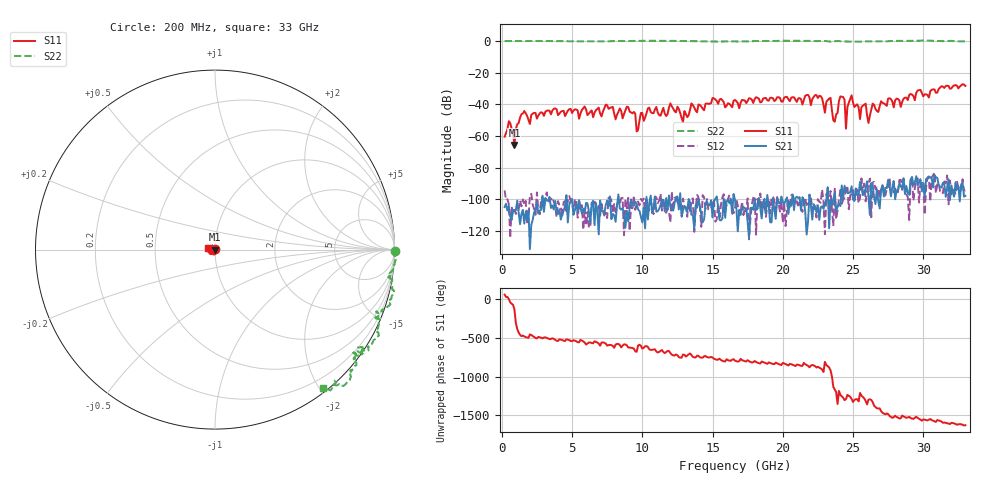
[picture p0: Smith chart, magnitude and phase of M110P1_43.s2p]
# GHZ S RI R 50
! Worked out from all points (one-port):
!   329 points, 200 MHz to 33 GHz, reference 50 ohm
!   lowest |S11| = -65.7 dB at 900 MHz (marker M1), VSWR 1.00, Z = 50 - j0.0399 ohm
!   |S11| at or under -10 dB: start of sweep to end of sweep
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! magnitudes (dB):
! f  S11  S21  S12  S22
! 200 MHz  -60.5  -104.9  -94.4  0.0
! 500 MHz  -50.7  -104.0  -103.0  0.0
! 900 MHz  -65.7  -107.4  -106.7  0.0
! 1.6 GHz  -44.2  -115.3  -103.2  0.0
! 5.7 GHz  -43.6  -108.9  -103.7  -0.2
! 9 GHz  -41.7  -114.1  -99.1  0.0
! 9.6 GHz  -57.1  -102.8  -102.9  0.1
! 9.9 GHz  -45.4  -111.0  -99.7  0.1
! 11.2 GHz  -46.8  -106.1  -100.9  0.2
! 16.6 GHz  -37.2  -100.4  -105.2  -0.3
! 22.1 GHz  -36.7  -112.9  -105.7  0.1
! 23 GHz  -45.3  -102.1  -122.1  0.1
! 23.4 GHz  -35.9  -100.6  -94.7  -0.3
! 23.7 GHz  -51.0  -95.9  -92.7  0.0
! 24.3 GHz  -35.4  -99.8  -100.3  -0.2
! 24.5 GHz  -55.3  -94.9  -93.3  -0.3
! 24.9 GHz  -34.3  -91.8  -96.0  -0.3
! 25.5 GHz  -49.3  -89.0  -99.2  -0.3
! 25.9 GHz  -39.5  -92.9  -101.3  -0.3
! 26.1 GHz  -51.8  -97.9  -90.6  -0.2
! 27.6 GHz  -36.1  -90.6  -86.5  0.0
! 33 GHz  -28.3  -97.8  -94.5  -0.2
